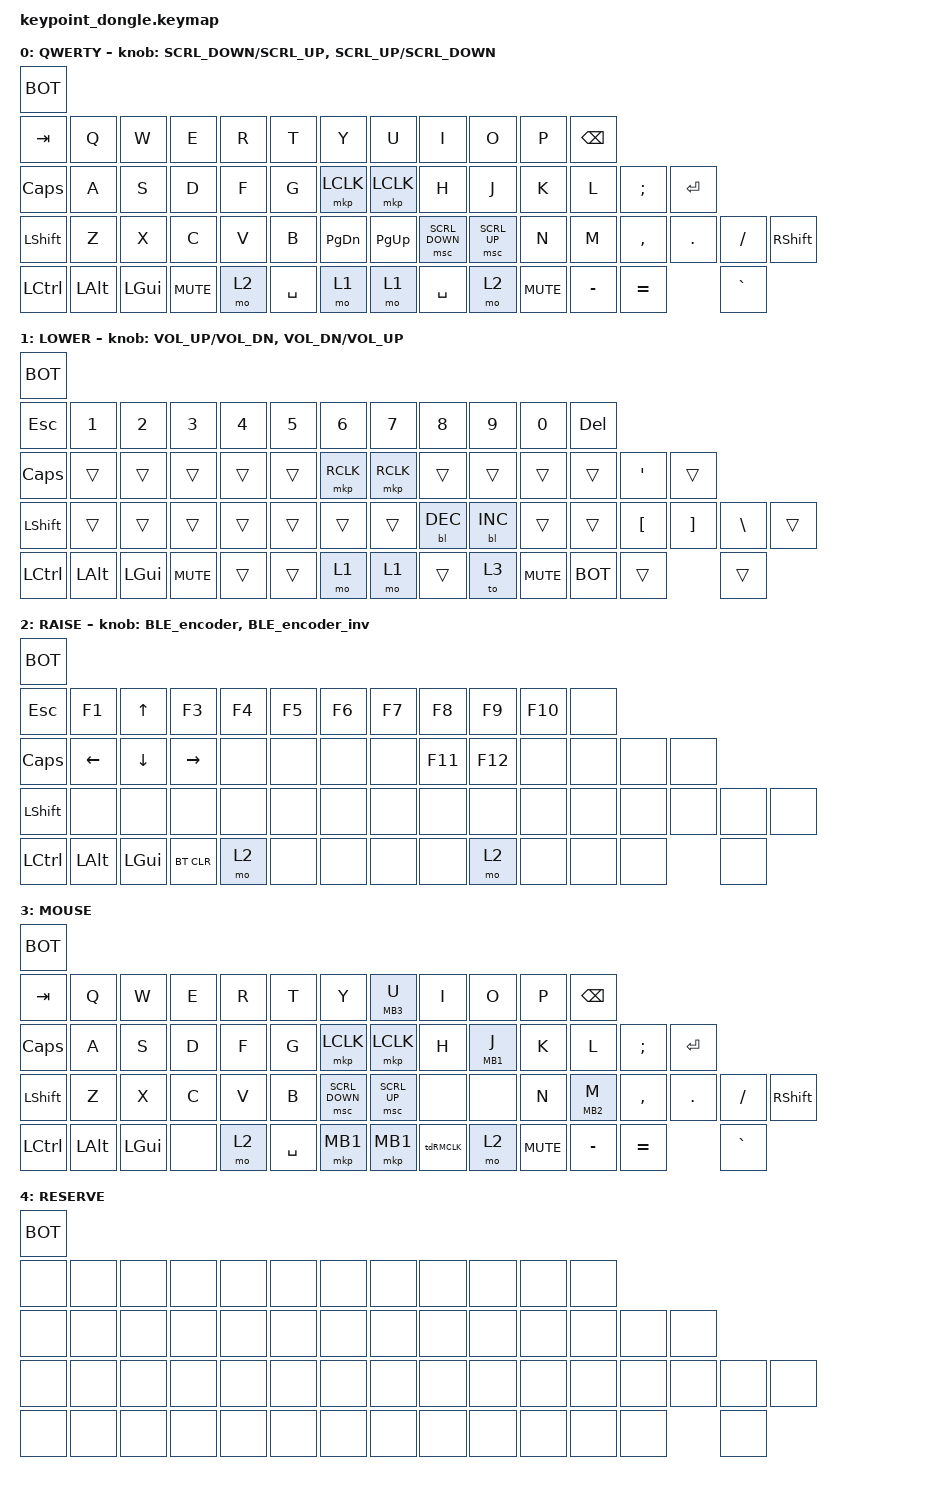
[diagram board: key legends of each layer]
/*
 * Copyright (c) 2025 ZitaoTech
 *
 * SPDX-License-Identifier: MIT
 */

#include <dt-bindings/zmk/mouse.h>
#include <behaviors/mouse_key_toggle.dtsi> // for &mktg
#include <behaviors/mouse_scroll_tick.dtsi> // for &inc_dec_msc
#include <behaviors.dtsi>
#include <dt-bindings/zmk/backlight.h>
#include <dt-bindings/zmk/bt.h>
#include <dt-bindings/zmk/keys.h>
#include <dt-bindings/zmk/pointing.h>

#define LOWER 1
#define RAISE 2
#define MOUSE 3
#define BOT bootloader

/ {
    input_processors {
        zip_temp_layer: zip_temp_layer {
            compatible = "zmk,input-processor-temp-layer";
            #input-processor-cells = <2>;
        };

        zip_layer_scroll: zip_layer_scroll {
            compatible = "zmk,input-processor-layer-scroll";
            #input-processor-cells = <2>;
        };

        ip_behaviors0: ip_behaviors0 {
            compatible = "zmk,input-processor-behaviors";
            #input-processor-cells = <0>;
            type = <INPUT_EV_KEY>;
            codes = <INPUT_BTN_0>;
            bindings = <&kp RIGHT>;
        };

        ip_behaviors1: ip_behaviors1 {
            compatible = "zmk,input-processor-behaviors";
            #input-processor-cells = <0>;
            type = <INPUT_EV_KEY>;
            codes = <INPUT_BTN_1>;
            bindings = <&kp LEFT>;
        };

        ip_behaviors2: ip_behaviors2 {
            compatible = "zmk,input-processor-behaviors";
            #input-processor-cells = <0>;
            type = <INPUT_EV_KEY>;
            codes = <INPUT_BTN_2>;
            bindings = <&kp DOWN>;
        };

        ip_behaviors3: ip_behaviors3 {
            compatible = "zmk,input-processor-behaviors";
            #input-processor-cells = <0>;
            type = <INPUT_EV_KEY>;
            codes = <INPUT_BTN_3>;
            bindings = <&kp UP>;
        };
    };
};

/ {
    behaviors {
        td0: tap_dance_0 {
            compatible = "zmk,behavior-tap-dance";
            #binding-cells = <0>;
            tapping-term-ms = <400>;
            bindings = <&mkp LCLK>, <&bt BT_CLR>;
        };
    };

    behaviors {
        tdRMCLK: tap_dance_R_LMouse {
            compatible = "zmk,behavior-tap-dance";
            #binding-cells = <0>;
            tapping-term-ms = <400>;
            bindings = <&mkp RCLK>, <&mkp MCLK>;
        };
    };

    behaviors {
        hm: homerow_mods {
            compatible = "zmk,behavior-hold-tap";
            #binding-cells = <2>;
            tapping-term-ms = <500>;
            bindings = <&kp &kp>;
        };
    };

    behaviors {
        LMouse_sc: behavior_LMouse_Scroll {
            compatible = "zmk,behavior-hold-tap";
            #binding-cells = <2>;
            flavor = "tap-preferred";     /* 单击优先 */
            tapping-term-ms = <200>;       /* 长按阈值 */
            bindings = <&none &mkp>;        /* hold=none, tap=Lmouse */
        };
    };

    behaviors {
        M_kp: behavior_mouse_keypress {
            compatible = "zmk,behavior-hold-tap";
            #binding-cells = <2>;
            flavor = "tap-preferred";     /* 单击优先 */
            tapping-term-ms = <200>;       /* 长按阈值 */
            bindings = <&mkp &kp>;        /* hold=mou key press, tap=key*/
        };
    };

    behaviors {
        BLE_encoder: BLE_encoder {
            compatible = "zmk,behavior-sensor-rotate";
            #sensor-binding-cells = <0>;
            bindings = <&bt BT_NXT>, <&bt BT_PRV>;
        };

        BLE_encoder_inv: BLE_encoder_inv {
            compatible = "zmk,behavior-sensor-rotate";
            #sensor-binding-cells = <0>;
            bindings = <&bt BT_PRV>, <&bt BT_NXT>;
        };

        scroll_encoder: scroll_encoder {
            compatible = "zmk,behavior-sensor-rotate";
            #sensor-binding-cells = <0>;
            bindings = <&msc_tick SCRL_UP>, <&msc_tick SCRL_DOWN>;
        };

        scroll_encoder_inv: scroll_encoder_inv {
            compatible = "zmk,behavior-sensor-rotate";
            #sensor-binding-cells = <0>;
            bindings = <&msc_tick SCRL_DOWN>, <&msc_tick SCRL_UP>;
        };
    };

    keymap {
        compatible = "zmk,keymap";

        default_layer {
            display-name = "QWERTY";
            bindings = <
&BOT
&kp TAB    &kp Q     &kp W     &kp E       &kp R  &kp T      &kp Y      &kp U      &kp I           &kp O         &kp P       &kp BSPC
&kp CAPS   &kp A     &kp S     &kp D       &kp F  &kp G      &mkp LCLK  &mkp LCLK  &kp H           &kp J         &kp K       &kp L      &kp SEMI   &kp ENTER
&kp LSHFT  &kp Z     &kp X     &kp C       &kp V  &kp B      &kp PG_DN  &kp PG_UP  &msc SCRL_DOWN  &msc SCRL_UP  &kp N       &kp M      &kp COMMA  &kp DOT    &kp FSLH   &kp RSHFT
&kp LCTRL  &kp LALT  &kp LGUI  &kp C_MUTE  &mo 2  &kp SPACE  &mo 1      &mo 1      &kp SPACE       &mo 2         &kp C_MUTE  &kp MINUS  &kp EQUAL             &kp GRAVE
            >;

            sensor-bindings =
                <&inc_dec_msc SCRL_DOWN SCRL_UP>,
                <&inc_dec_msc SCRL_UP SCRL_DOWN>;
        };

        lower_layer {
            display-name = "LOWER";
            bindings = <
&BOT
&kp ESC    &kp N1    &kp N2    &kp N3      &kp N4  &kp N5  &kp N6     &kp N7     &kp N8      &kp N9      &kp N0      &kp DEL
&kp CAPS   &trans    &trans    &trans      &trans  &trans  &mkp RCLK  &mkp RCLK  &trans      &trans      &trans      &trans   &kp SQT   &trans
&kp LSHFT  &trans    &trans    &trans      &trans  &trans  &trans     &trans     &bl BL_DEC  &bl BL_INC  &trans      &trans   &kp LBKT  &kp RBKT  &kp BSLH  &trans
&kp LCTRL  &kp LALT  &kp LGUI  &kp C_MUTE  &trans  &trans  &mo 1      &mo 1      &trans      &to 3       &kp C_MUTE  &BOT     &trans              &trans
            >;

            sensor-bindings =
                <&inc_dec_kp C_VOL_UP C_VOL_DN>,
                <&inc_dec_kp C_VOL_DN C_VOL_UP>;
        };

        raise_layer {
            display-name = "RAISE";
            bindings = <
&BOT
&kp ESC    &kp F1    &kp UP    &kp F3      &kp F4  &kp F5  &kp F6  &kp F7  &kp F8   &kp F9   &kp F10  &none
&kp CAPS   &kp LEFT  &kp DOWN  &kp RIGHT   &none   &none   &none   &none   &kp F11  &kp F12  &none    &none  &none  &none
&kp LSHFT  &none     &none     &none       &none   &none   &none   &none   &none    &none    &none    &none  &none  &none  &none  &none
&kp LCTRL  &kp LALT  &kp LGUI  &bt BT_CLR  &mo 2   &none   &none   &none   &none    &mo 2    &none    &none  &none         &none
            >;

            sensor-bindings =
                <&BLE_encoder>,
                <&BLE_encoder_inv>;
        };

        MOUSE_layer {
            display-name = "MOUSE";
            bindings = <
&BOT
&kp TAB    &kp Q     &kp W     &kp E  &kp R  &kp T      &kp Y           &M_kp MB3 U   &kp I     &kp O        &kp P       &kp BSPC
&kp CAPS   &kp A     &kp S     &kp D  &kp F  &kp G      &mkp LCLK       &mkp LCLK     &kp H     &M_kp MB1 J  &kp K       &kp L        &kp SEMI   &kp ENTER
&kp LSHFT  &kp Z     &kp X     &kp C  &kp V  &kp B      &msc SCRL_DOWN  &msc SCRL_UP  &none     &none        &kp N       &M_kp MB2 M  &kp COMMA  &kp DOT    &kp FSLH   &kp RSHFT
&kp LCTRL  &kp LALT  &kp LGUI  &none  &mo 2  &kp SPACE  &mkp MB1        &mkp MB1      &tdRMCLK  &mo 2        &kp C_MUTE  &kp MINUS    &kp EQUAL             &kp GRAVE
            >;
        };

        RES_layer {
            display-name = "RESERVE";
            bindings = <
&BOT
&none  &none  &none  &none  &none  &none  &none  &none  &none  &none  &none  &none
&none  &none  &none  &none  &none  &none  &none  &none  &none  &none  &none  &none  &none  &none
&none  &none  &none  &none  &none  &none  &none  &none  &none  &none  &none  &none  &none  &none  &none  &none
&none  &none  &none  &none  &none  &none  &none  &none  &none  &none  &none  &none  &none         &none
            >;
        };
    };
};
